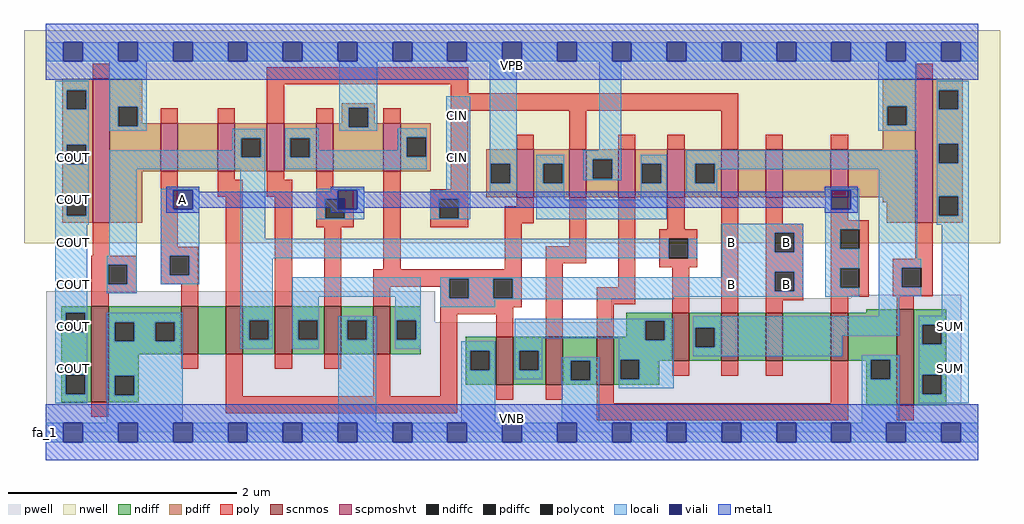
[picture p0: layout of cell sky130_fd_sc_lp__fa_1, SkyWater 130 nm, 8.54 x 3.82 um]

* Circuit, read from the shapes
.subckt sky130_fd_sc_lp__fa_1 A B CIN VGND VNB VPB VPWR COUT SUM
XM1 VGND n1 COUT VNB sky130_fd_pr__nfet_01v8 w=0.84 l=0.15
XM2 n2 A VGND VNB sky130_fd_pr__nfet_01v8 w=0.42 l=0.15
XM3 n1 B n2 VNB sky130_fd_pr__nfet_01v8 w=0.42 l=0.15
XM4 n3 CIN n1 VNB sky130_fd_pr__nfet_01v8 w=0.42 l=0.15
XM5 VGND A n3 VNB sky130_fd_pr__nfet_01v8 w=0.42 l=0.15
XM6 n3 B VGND VNB sky130_fd_pr__nfet_01v8 w=0.42 l=0.15
XM7 n4 B VGND VNB sky130_fd_pr__nfet_01v8 w=0.42 l=0.15
XM8 VGND CIN n4 VNB sky130_fd_pr__nfet_01v8 w=0.42 l=0.15
XM9 n4 A VGND VNB sky130_fd_pr__nfet_01v8 w=0.42 l=0.15
XM10 n5 n1 n4 VNB sky130_fd_pr__nfet_01v8 w=0.42 l=0.15
XM11 n6 CIN n5 VNB sky130_fd_pr__nfet_01v8 w=0.42 l=0.15
XM12 n7 B n6 VNB sky130_fd_pr__nfet_01v8 w=0.42 l=0.15
XM13 VGND A n7 VNB sky130_fd_pr__nfet_01v8 w=0.42 l=0.15
XM14 SUM n5 VGND VNB sky130_fd_pr__nfet_01v8 w=0.84 l=0.15
XM15 VPWR n1 COUT VPB sky130_fd_pr__pfet_01v8_hvt w=1.26 l=0.15
XM16 n8 A VPWR VPB sky130_fd_pr__pfet_01v8_hvt w=0.42 l=0.15
XM17 n1 B n8 VPB sky130_fd_pr__pfet_01v8_hvt w=0.42 l=0.15
XM18 n9 CIN n1 VPB sky130_fd_pr__pfet_01v8_hvt w=0.42 l=0.15
XM19 VPWR A n9 VPB sky130_fd_pr__pfet_01v8_hvt w=0.42 l=0.15
XM20 n9 B VPWR VPB sky130_fd_pr__pfet_01v8_hvt w=0.42 l=0.15
XM21 n10 B VPWR VPB sky130_fd_pr__pfet_01v8_hvt w=0.42 l=0.15
XM22 VPWR CIN n10 VPB sky130_fd_pr__pfet_01v8_hvt w=0.42 l=0.15
XM23 n10 A VPWR VPB sky130_fd_pr__pfet_01v8_hvt w=0.42 l=0.15
XM24 n5 n1 n10 VPB sky130_fd_pr__pfet_01v8_hvt w=0.42 l=0.15
XM25 n11 CIN n5 VPB sky130_fd_pr__pfet_01v8_hvt w=0.42 l=0.15
XM26 n12 B n11 VPB sky130_fd_pr__pfet_01v8_hvt w=0.42 l=0.15
XM27 VPWR A n12 VPB sky130_fd_pr__pfet_01v8_hvt w=0.42 l=0.15
XM28 SUM n5 VPWR VPB sky130_fd_pr__pfet_01v8_hvt w=1.26 l=0.15
.ends

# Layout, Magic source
magic
tech sky130A
magscale 1 2
<< nwell >>
rect -38 331 1670 704
<< pwell >>
rect 1 193 682 247
rect 1410 235 1602 241
rect 990 193 1602 235
rect 1 49 1602 193
rect 0 0 1632 49
<< scnmos >>
rect 80 53 110 221
rect 237 137 267 221
rect 315 137 345 221
rect 401 137 431 221
rect 487 137 517 221
rect 573 137 603 221
rect 788 83 818 167
rect 875 83 905 167
rect 964 83 994 167
rect 1096 125 1126 209
rect 1182 125 1212 209
rect 1260 125 1290 209
rect 1374 125 1404 209
rect 1489 47 1519 215
<< scpmoshvt >>
rect 82 367 112 619
rect 201 457 231 541
rect 301 457 331 541
rect 387 457 417 541
rect 473 457 503 541
rect 591 457 621 541
rect 824 411 854 495
rect 916 411 946 495
rect 1002 411 1032 495
rect 1088 411 1118 495
rect 1182 411 1212 495
rect 1260 411 1290 495
rect 1374 411 1404 495
rect 1522 367 1552 619
<< ndiff >>
rect 27 209 80 221
rect 27 175 35 209
rect 69 175 80 209
rect 27 101 80 175
rect 27 67 35 101
rect 69 67 80 101
rect 27 53 80 67
rect 110 193 237 221
rect 110 159 121 193
rect 155 159 192 193
rect 226 159 237 193
rect 110 137 237 159
rect 267 137 315 221
rect 345 196 401 221
rect 345 162 356 196
rect 390 162 401 196
rect 345 137 401 162
rect 431 196 487 221
rect 431 162 442 196
rect 476 162 487 196
rect 431 137 487 162
rect 517 196 573 221
rect 517 162 528 196
rect 562 162 573 196
rect 517 137 573 162
rect 603 196 656 221
rect 603 162 614 196
rect 648 162 656 196
rect 603 137 656 162
rect 110 99 163 137
rect 110 65 121 99
rect 155 65 163 99
rect 110 53 163 65
rect 1436 209 1489 215
rect 1016 195 1096 209
rect 1016 167 1049 195
rect 735 143 788 167
rect 735 109 743 143
rect 777 109 788 143
rect 735 83 788 109
rect 818 143 875 167
rect 818 109 829 143
rect 863 109 875 143
rect 818 83 875 109
rect 905 125 964 167
rect 905 91 919 125
rect 953 91 964 125
rect 905 83 964 91
rect 994 161 1049 167
rect 1083 161 1096 195
rect 994 127 1096 161
rect 994 93 1005 127
rect 1039 125 1096 127
rect 1126 183 1182 209
rect 1126 149 1137 183
rect 1171 149 1182 183
rect 1126 125 1182 149
rect 1212 125 1260 209
rect 1290 125 1374 209
rect 1404 127 1489 209
rect 1404 125 1444 127
rect 1039 93 1074 125
rect 994 83 1074 93
rect 1436 93 1444 125
rect 1478 93 1489 127
rect 1436 47 1489 93
rect 1519 188 1576 215
rect 1519 154 1534 188
rect 1568 154 1576 188
rect 1519 101 1576 154
rect 1519 67 1534 101
rect 1568 67 1576 101
rect 1519 47 1576 67
<< pdiff >>
rect 29 599 82 619
rect 29 565 37 599
rect 71 565 82 599
rect 29 503 82 565
rect 29 469 37 503
rect 71 469 82 503
rect 29 413 82 469
rect 29 379 37 413
rect 71 379 82 413
rect 29 367 82 379
rect 112 570 169 619
rect 112 536 127 570
rect 161 541 169 570
rect 518 568 576 576
rect 518 541 530 568
rect 161 536 201 541
rect 112 457 201 536
rect 231 457 301 541
rect 331 515 387 541
rect 331 481 342 515
rect 376 481 387 515
rect 331 457 387 481
rect 417 515 473 541
rect 417 481 428 515
rect 462 481 473 515
rect 417 457 473 481
rect 503 534 530 541
rect 564 541 576 568
rect 564 534 591 541
rect 503 457 591 534
rect 621 516 674 541
rect 621 482 632 516
rect 666 482 674 516
rect 621 457 674 482
rect 112 367 169 457
rect 1465 571 1522 619
rect 1465 537 1473 571
rect 1507 537 1522 571
rect 1465 495 1522 537
rect 771 470 824 495
rect 771 436 779 470
rect 813 436 824 470
rect 771 411 824 436
rect 854 470 916 495
rect 854 436 871 470
rect 905 436 916 470
rect 854 411 916 436
rect 946 478 1002 495
rect 946 444 957 478
rect 991 444 1002 478
rect 946 411 1002 444
rect 1032 470 1088 495
rect 1032 436 1043 470
rect 1077 436 1088 470
rect 1032 411 1088 436
rect 1118 470 1182 495
rect 1118 436 1137 470
rect 1171 436 1182 470
rect 1118 411 1182 436
rect 1212 411 1260 495
rect 1290 411 1374 495
rect 1404 411 1522 495
rect 1465 403 1522 411
rect 1472 367 1522 403
rect 1552 599 1605 619
rect 1552 565 1563 599
rect 1597 565 1605 599
rect 1552 505 1605 565
rect 1552 471 1563 505
rect 1597 471 1605 505
rect 1552 413 1605 471
rect 1552 379 1563 413
rect 1597 379 1605 413
rect 1552 367 1605 379
<< ndiffc >>
rect 35 175 69 209
rect 35 67 69 101
rect 121 159 155 193
rect 192 159 226 193
rect 356 162 390 196
rect 442 162 476 196
rect 528 162 562 196
rect 614 162 648 196
rect 121 65 155 99
rect 743 109 777 143
rect 829 109 863 143
rect 919 91 953 125
rect 1049 161 1083 195
rect 1005 93 1039 127
rect 1137 149 1171 183
rect 1444 93 1478 127
rect 1534 154 1568 188
rect 1534 67 1568 101
<< pdiffc >>
rect 37 565 71 599
rect 37 469 71 503
rect 37 379 71 413
rect 127 536 161 570
rect 342 481 376 515
rect 428 481 462 515
rect 530 534 564 568
rect 632 482 666 516
rect 1473 537 1507 571
rect 779 436 813 470
rect 871 436 905 470
rect 957 444 991 478
rect 1043 436 1077 470
rect 1137 436 1171 470
rect 1563 565 1597 599
rect 1563 471 1597 505
rect 1563 379 1597 413
<< poly >>
rect 82 619 112 645
rect 387 609 739 639
rect 1522 619 1552 645
rect 201 541 231 567
rect 301 541 331 567
rect 387 541 417 609
rect 709 593 739 609
rect 473 541 503 567
rect 591 541 621 567
rect 709 563 1212 593
rect 82 309 112 367
rect 201 325 231 457
rect 301 442 331 457
rect 387 442 417 457
rect 301 412 345 442
rect 387 412 431 442
rect 201 309 267 325
rect 80 293 159 309
rect 80 259 109 293
rect 143 259 159 293
rect 201 275 217 309
rect 251 275 267 309
rect 201 259 267 275
rect 80 243 159 259
rect 80 221 110 243
rect 237 221 267 259
rect 315 221 345 412
rect 401 221 431 412
rect 473 425 503 457
rect 473 409 539 425
rect 473 375 489 409
rect 523 375 539 409
rect 473 359 539 375
rect 487 221 517 359
rect 591 285 621 457
rect 709 425 739 563
rect 824 495 854 521
rect 916 495 946 563
rect 1002 495 1032 521
rect 1088 495 1118 521
rect 1182 495 1212 563
rect 1260 495 1290 521
rect 1374 495 1404 521
rect 673 409 739 425
rect 673 375 689 409
rect 723 375 739 409
rect 824 396 854 411
rect 673 359 739 375
rect 803 366 854 396
rect 803 285 833 366
rect 916 326 946 411
rect 573 269 833 285
rect 573 255 706 269
rect 573 221 603 255
rect 690 235 706 255
rect 740 235 783 269
rect 817 235 833 269
rect 690 219 833 235
rect 875 296 946 326
rect 690 207 818 219
rect 237 111 267 137
rect 315 63 345 137
rect 401 111 431 137
rect 487 111 517 137
rect 573 63 603 137
rect 690 63 720 207
rect 788 167 818 207
rect 875 167 905 296
rect 1002 254 1032 411
rect 1088 355 1118 411
rect 1074 339 1140 355
rect 1074 305 1090 339
rect 1124 305 1140 339
rect 1074 289 1140 305
rect 964 224 1032 254
rect 964 167 994 224
rect 1096 209 1126 289
rect 1182 209 1212 411
rect 1260 365 1290 411
rect 1374 371 1404 411
rect 1260 349 1326 365
rect 1260 315 1276 349
rect 1310 315 1326 349
rect 1260 281 1326 315
rect 1260 247 1276 281
rect 1310 247 1326 281
rect 1260 231 1326 247
rect 1374 355 1440 371
rect 1374 321 1390 355
rect 1424 321 1440 355
rect 1374 287 1440 321
rect 1522 304 1552 367
rect 1374 253 1390 287
rect 1424 253 1440 287
rect 1374 237 1440 253
rect 1482 288 1552 304
rect 1482 254 1498 288
rect 1532 254 1552 288
rect 1482 238 1552 254
rect 1260 209 1290 231
rect 1374 209 1404 237
rect 1489 215 1519 238
rect 1096 99 1126 125
rect 1182 99 1212 125
rect 1260 99 1290 125
rect 80 27 110 53
rect 315 33 720 63
rect 788 57 818 83
rect 875 57 905 83
rect 964 51 994 83
rect 1374 51 1404 125
rect 964 21 1404 51
rect 1489 21 1519 47
<< polycont >>
rect 109 259 143 293
rect 217 275 251 309
rect 489 375 523 409
rect 689 375 723 409
rect 706 235 740 269
rect 783 235 817 269
rect 1090 305 1124 339
rect 1276 315 1310 349
rect 1276 247 1310 281
rect 1390 321 1424 355
rect 1390 253 1424 287
rect 1498 254 1532 288
<< locali >>
rect 0 649 31 683
rect 65 649 127 683
rect 161 649 223 683
rect 257 649 319 683
rect 353 649 415 683
rect 449 649 511 683
rect 545 649 607 683
rect 641 649 703 683
rect 737 649 799 683
rect 833 649 895 683
rect 929 649 991 683
rect 1025 649 1087 683
rect 1121 649 1183 683
rect 1217 649 1279 683
rect 1313 649 1375 683
rect 1409 649 1471 683
rect 1505 649 1567 683
rect 1601 649 1632 683
rect 17 599 75 615
rect 17 565 37 599
rect 71 565 75 599
rect 17 503 75 565
rect 111 570 177 649
rect 111 536 127 570
rect 161 536 177 570
rect 111 528 177 536
rect 514 568 580 649
rect 514 534 530 568
rect 564 534 580 568
rect 17 469 37 503
rect 71 469 75 503
rect 326 515 384 531
rect 326 494 342 515
rect 17 413 75 469
rect 17 379 37 413
rect 71 379 75 413
rect 17 363 75 379
rect 111 481 342 494
rect 376 481 384 515
rect 111 460 384 481
rect 418 515 478 532
rect 514 528 580 534
rect 418 481 428 515
rect 462 494 478 515
rect 616 516 667 532
rect 616 494 632 516
rect 462 482 632 494
rect 666 482 667 516
rect 462 481 667 482
rect 418 460 667 481
rect 17 209 73 363
rect 111 309 159 460
rect 107 293 159 309
rect 107 259 109 293
rect 143 259 159 293
rect 201 424 269 426
rect 201 390 223 424
rect 257 390 269 424
rect 201 309 269 390
rect 201 275 217 309
rect 251 275 269 309
rect 201 259 269 275
rect 340 339 384 460
rect 473 424 557 426
rect 701 424 743 588
rect 473 409 511 424
rect 473 375 489 409
rect 545 390 557 424
rect 523 375 557 390
rect 473 373 557 375
rect 673 409 743 424
rect 777 470 824 649
rect 969 494 1007 649
rect 1457 571 1523 649
rect 1457 537 1473 571
rect 1507 537 1523 571
rect 1457 528 1523 537
rect 1559 599 1615 615
rect 1559 565 1563 599
rect 1597 565 1615 599
rect 1559 505 1615 565
rect 777 436 779 470
rect 813 436 824 470
rect 777 420 824 436
rect 858 470 907 486
rect 858 436 871 470
rect 905 436 907 470
rect 941 478 1007 494
rect 941 444 957 478
rect 991 444 1007 478
rect 941 441 1007 444
rect 1041 470 1087 486
rect 673 375 689 409
rect 723 375 743 409
rect 673 373 743 375
rect 858 407 907 436
rect 1041 436 1043 470
rect 1077 436 1087 470
rect 1041 407 1087 436
rect 1121 470 1525 494
rect 1121 436 1137 470
rect 1171 460 1525 470
rect 1171 436 1175 460
rect 1121 420 1175 436
rect 1364 424 1424 426
rect 858 373 1087 407
rect 1364 390 1375 424
rect 1409 390 1424 424
rect 1183 349 1326 365
rect 340 305 1090 339
rect 1124 305 1140 339
rect 1183 315 1276 349
rect 1310 315 1326 349
rect 107 243 159 259
rect 17 175 35 209
rect 69 175 73 209
rect 17 101 73 175
rect 17 67 35 101
rect 69 67 73 101
rect 17 51 73 67
rect 107 193 240 209
rect 107 159 121 193
rect 155 159 192 193
rect 226 159 240 193
rect 107 99 240 159
rect 340 196 397 305
rect 1183 281 1326 315
rect 1183 271 1276 281
rect 340 162 356 196
rect 390 162 397 196
rect 340 146 397 162
rect 431 237 656 271
rect 431 196 478 237
rect 431 162 442 196
rect 476 162 478 196
rect 431 146 478 162
rect 512 196 578 203
rect 512 162 528 196
rect 562 162 578 196
rect 107 65 121 99
rect 155 65 240 99
rect 107 17 240 65
rect 512 17 578 162
rect 612 196 656 237
rect 690 269 1276 271
rect 690 235 706 269
rect 740 235 783 269
rect 817 247 1276 269
rect 1310 247 1326 281
rect 817 237 1326 247
rect 1364 355 1424 390
rect 1364 321 1390 355
rect 1364 287 1424 321
rect 1364 253 1390 287
rect 1364 237 1424 253
rect 1458 304 1525 460
rect 1559 471 1563 505
rect 1597 471 1615 505
rect 1559 413 1615 471
rect 1559 379 1563 413
rect 1597 379 1615 413
rect 1559 363 1615 379
rect 1458 288 1532 304
rect 1458 254 1498 288
rect 1458 238 1532 254
rect 817 235 1099 237
rect 690 233 1099 235
rect 690 219 787 233
rect 1458 203 1494 238
rect 1568 204 1615 363
rect 612 162 614 196
rect 648 162 656 196
rect 612 146 656 162
rect 821 195 1099 199
rect 821 165 1049 195
rect 727 143 787 159
rect 727 109 743 143
rect 777 109 787 143
rect 727 17 787 109
rect 821 143 869 165
rect 821 109 829 143
rect 863 109 869 143
rect 1003 161 1049 165
rect 1083 161 1099 195
rect 821 93 869 109
rect 903 125 969 131
rect 903 91 919 125
rect 953 91 969 125
rect 903 17 969 91
rect 1003 127 1099 161
rect 1133 183 1494 203
rect 1133 149 1137 183
rect 1171 169 1494 183
rect 1528 188 1615 204
rect 1171 149 1394 169
rect 1133 133 1394 149
rect 1528 154 1534 188
rect 1568 154 1615 188
rect 1003 93 1005 127
rect 1039 93 1099 127
rect 1003 77 1099 93
rect 1428 127 1494 135
rect 1428 93 1444 127
rect 1478 93 1494 127
rect 1428 17 1494 93
rect 1528 101 1615 154
rect 1528 67 1534 101
rect 1568 67 1615 101
rect 1528 51 1615 67
rect 0 -17 31 17
rect 65 -17 127 17
rect 161 -17 223 17
rect 257 -17 319 17
rect 353 -17 415 17
rect 449 -17 511 17
rect 545 -17 607 17
rect 641 -17 703 17
rect 737 -17 799 17
rect 833 -17 895 17
rect 929 -17 991 17
rect 1025 -17 1087 17
rect 1121 -17 1183 17
rect 1217 -17 1279 17
rect 1313 -17 1375 17
rect 1409 -17 1471 17
rect 1505 -17 1567 17
rect 1601 -17 1632 17
<< viali >>
rect 31 649 65 683
rect 127 649 161 683
rect 223 649 257 683
rect 319 649 353 683
rect 415 649 449 683
rect 511 649 545 683
rect 607 649 641 683
rect 703 649 737 683
rect 799 649 833 683
rect 895 649 929 683
rect 991 649 1025 683
rect 1087 649 1121 683
rect 1183 649 1217 683
rect 1279 649 1313 683
rect 1375 649 1409 683
rect 1471 649 1505 683
rect 1567 649 1601 683
rect 223 390 257 424
rect 511 409 545 424
rect 511 390 523 409
rect 523 390 545 409
rect 1375 390 1409 424
rect 31 -17 65 17
rect 127 -17 161 17
rect 223 -17 257 17
rect 319 -17 353 17
rect 415 -17 449 17
rect 511 -17 545 17
rect 607 -17 641 17
rect 703 -17 737 17
rect 799 -17 833 17
rect 895 -17 929 17
rect 991 -17 1025 17
rect 1087 -17 1121 17
rect 1183 -17 1217 17
rect 1279 -17 1313 17
rect 1375 -17 1409 17
rect 1471 -17 1505 17
rect 1567 -17 1601 17
<< metal1 >>
rect 0 683 1632 715
rect 0 649 31 683
rect 65 649 127 683
rect 161 649 223 683
rect 257 649 319 683
rect 353 649 415 683
rect 449 649 511 683
rect 545 649 607 683
rect 641 649 703 683
rect 737 649 799 683
rect 833 649 895 683
rect 929 649 991 683
rect 1025 649 1087 683
rect 1121 649 1183 683
rect 1217 649 1279 683
rect 1313 649 1375 683
rect 1409 649 1471 683
rect 1505 649 1567 683
rect 1601 649 1632 683
rect 0 617 1632 649
rect 211 424 269 430
rect 211 390 223 424
rect 257 421 269 424
rect 499 424 557 430
rect 499 421 511 424
rect 257 393 511 421
rect 257 390 269 393
rect 211 384 269 390
rect 499 390 511 393
rect 545 421 557 424
rect 1363 424 1421 430
rect 1363 421 1375 424
rect 545 393 1375 421
rect 545 390 557 393
rect 499 384 557 390
rect 1363 390 1375 393
rect 1409 390 1421 424
rect 1363 384 1421 390
rect 0 17 1632 49
rect 0 -17 31 17
rect 65 -17 127 17
rect 161 -17 223 17
rect 257 -17 319 17
rect 353 -17 415 17
rect 449 -17 511 17
rect 545 -17 607 17
rect 641 -17 703 17
rect 737 -17 799 17
rect 833 -17 895 17
rect 929 -17 991 17
rect 1025 -17 1087 17
rect 1121 -17 1183 17
rect 1217 -17 1279 17
rect 1313 -17 1375 17
rect 1409 -17 1471 17
rect 1505 -17 1567 17
rect 1601 -17 1632 17
rect 0 -49 1632 -17
<< labels >>
flabel pwell s 0 0 1632 49 0 FreeSans 200 0 0 0 VNB
port 5 nsew ground bidirectional
flabel nwell s 0 617 1632 666 0 FreeSans 200 0 0 0 VPB
port 6 nsew power bidirectional
rlabel comment s 0 0 0 0 4 fa_1
flabel metal1 s 223 390 257 424 0 FreeSans 340 0 0 0 A
port 1 nsew signal input
flabel metal1 s 0 617 1632 666 0 FreeSans 340 0 0 0 VPWR
port 7 nsew power bidirectional
flabel metal1 s 0 0 1632 49 0 FreeSans 340 0 0 0 VGND
port 4 nsew ground bidirectional
flabel locali s 1567 94 1601 128 0 FreeSans 340 0 0 0 SUM
port 9 nsew signal output
flabel locali s 1567 168 1601 202 0 FreeSans 340 0 0 0 SUM
port 9 nsew signal output
flabel locali s 1183 242 1217 276 0 FreeSans 340 0 0 0 B
port 2 nsew signal input
flabel locali s 1279 242 1313 276 0 FreeSans 340 0 0 0 B
port 2 nsew signal input
flabel locali s 703 464 737 498 0 FreeSans 340 0 0 0 CIN
port 3 nsew signal input
flabel locali s 703 538 737 572 0 FreeSans 340 0 0 0 CIN
port 3 nsew signal input
flabel locali s 31 94 65 128 0 FreeSans 340 0 0 0 COUT
port 8 nsew signal output
flabel locali s 31 168 65 202 0 FreeSans 340 0 0 0 COUT
port 8 nsew signal output
flabel locali s 31 242 65 276 0 FreeSans 340 0 0 0 COUT
port 8 nsew signal output
flabel locali s 31 316 65 350 0 FreeSans 340 0 0 0 COUT
port 8 nsew signal output
flabel locali s 31 390 65 424 0 FreeSans 340 0 0 0 COUT
port 8 nsew signal output
flabel locali s 31 464 65 498 0 FreeSans 340 0 0 0 COUT
port 8 nsew signal output
flabel locali s 1279 316 1313 350 0 FreeSans 340 0 0 0 B
port 2 nsew signal input
flabel locali s 1183 316 1217 350 0 FreeSans 340 0 0 0 B
port 2 nsew signal input
<< properties >>
string LEFsite unit
string LEFclass CORE
string FIXED_BBOX 0 0 1632 666
string GDS_FILE $PDKPATH/libs.ref/sky130_fd_sc_lp/gds/sky130_fd_sc_lp.gds
string LEFsymmetry X Y R90
string GDS_END 2457786
string GDS_START 2445194
<< end >>
